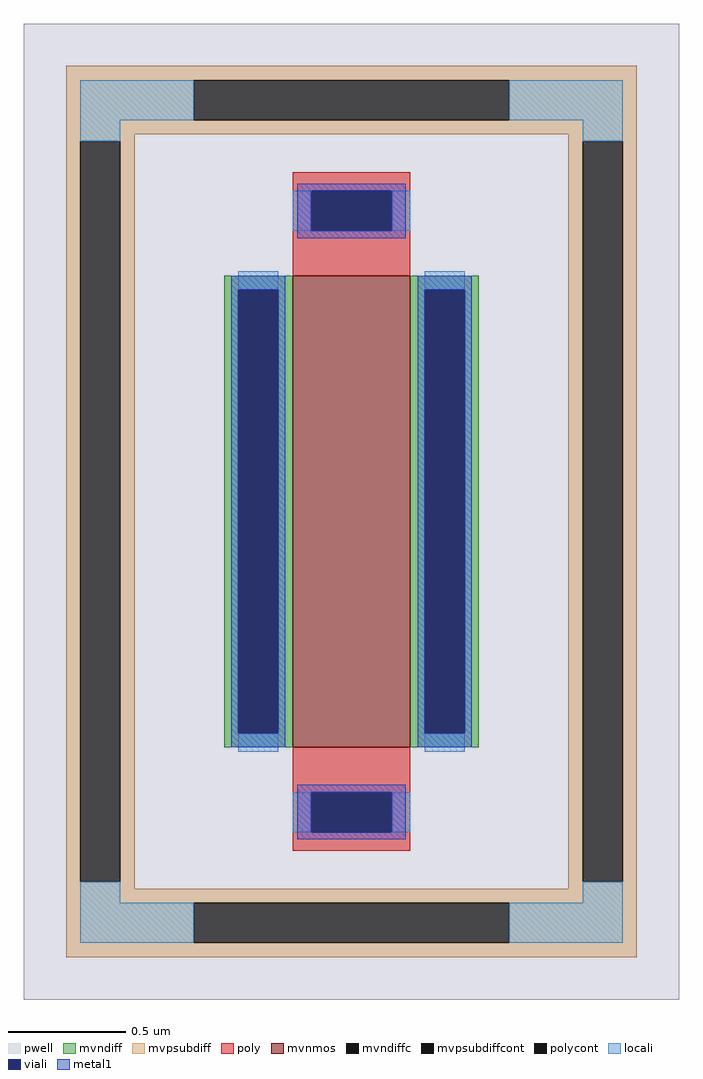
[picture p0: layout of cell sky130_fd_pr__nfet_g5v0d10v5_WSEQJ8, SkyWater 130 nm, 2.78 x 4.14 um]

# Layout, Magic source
magic
tech sky130A
<< pwell >>
rect -139 -207 139 207
<< mvnmos >>
rect -25 -100 25 100
<< mvndiff >>
rect -54 94 -25 100
rect -54 -94 -48 94
rect -31 -94 -25 94
rect -54 -100 -25 -94
rect 25 94 54 100
rect 25 -94 31 94
rect 48 -94 54 94
rect 25 -100 54 -94
<< mvndiffc >>
rect -48 -94 -31 94
rect 31 -94 48 94
<< mvpsubdiff >>
rect -121 183 121 189
rect -121 166 -67 183
rect 67 166 121 183
rect -121 160 121 166
rect -121 157 -92 160
rect -121 -157 -115 157
rect -98 -157 -92 157
rect 92 157 121 160
rect -121 -160 -92 -157
rect 92 -157 98 157
rect 115 -157 121 157
rect 92 -160 121 -157
rect -121 -166 121 -160
rect -121 -183 -67 -166
rect 67 -183 121 -166
rect -121 -189 121 -183
<< mvpsubdiffcont >>
rect -67 166 67 183
rect -115 -157 -98 157
rect 98 -157 115 157
rect -67 -183 67 -166
<< poly >>
rect -25 136 25 144
rect -25 119 -17 136
rect 17 119 25 136
rect -25 100 25 119
rect -25 -119 25 -100
rect -25 -136 -17 -119
rect 17 -136 25 -119
rect -25 -144 25 -136
<< polycont >>
rect -17 119 17 136
rect -17 -136 17 -119
<< locali >>
rect -115 166 -67 183
rect 67 166 115 183
rect -115 157 -98 166
rect 98 157 115 166
rect -25 119 -17 136
rect 17 119 25 136
rect -48 94 -31 102
rect -48 -102 -31 -94
rect 31 94 48 102
rect 31 -102 48 -94
rect -25 -136 -17 -119
rect 17 -136 25 -119
rect -115 -166 -98 -157
rect 98 -166 115 -157
rect -115 -183 -67 -166
rect 67 -183 115 -166
<< viali >>
rect -17 119 17 136
rect -48 -94 -31 94
rect 31 -94 48 94
rect -17 -136 17 -119
<< metal1 >>
rect -23 136 23 139
rect -23 119 -17 136
rect 17 119 23 136
rect -23 116 23 119
rect -51 94 -28 100
rect -51 -94 -48 94
rect -31 -94 -28 94
rect -51 -100 -28 -94
rect 28 94 51 100
rect 28 -94 31 94
rect 48 -94 51 94
rect 28 -100 51 -94
rect -23 -119 23 -116
rect -23 -136 -17 -119
rect 17 -136 23 -119
rect -23 -139 23 -136
<< properties >>
string FIXED_BBOX -106 -196 106 196
string gencell sky130_fd_pr__nfet_g5v0d10v5
string library sky130
string parameters w 2.0 l 0.5 m 1 nf 1 diffcov 100 polycov 100 guard 1 glc 1 grc 1 gtc 1 gbc 1 tbcov 100 rlcov 100 topc 1 botc 1 poverlap 0 doverlap 1 lmin 0.50 wmin 0.42 compatible {sky130_fd_pr__nfet_01v8 sky130_fd_pr__nfet_01v8_lvt  sky130_fd_bs_flash__special_sonosfet_star  sky130_fd_pr__nfet_g5v0d10v5 sky130_fd_pr__nfet_05v0_nvt  sky130_fd_pr__nfet_03v3_nvt} full_metal 1 viasrc 100 viadrn 100 viagate 100 viagb 0 viagr 0 viagl 0 viagt 0
<< end >>
